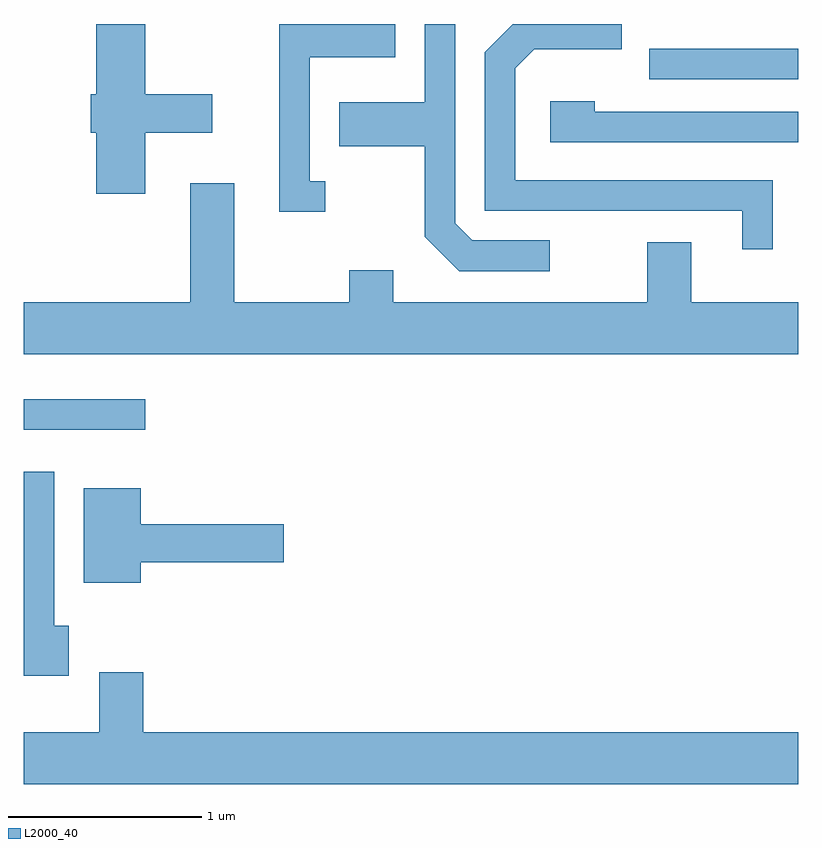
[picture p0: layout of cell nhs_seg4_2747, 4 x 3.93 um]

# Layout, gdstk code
import gdstk
lib = gdstk.Library(unit=1e-6, precision=1e-09)
def R(c, l, rs):  # rectangles x0, y0, x1, y1
    for r in rs: c.add(gdstk.rectangle(r[:2], r[2:], *l))
def P(c, l, *ps):  # polygons
    for p in ps: c.add(gdstk.Polygon(p, *l))
L2000_40 = (2000, 40)

nhs_seg4_2747 = lib.new_cell('nhs_seg4_2747')
R(nhs_seg4_2747, L2000_40, [(265.611,1309.886,266.238,1310.044), (268.843,1311.696,269.611,1311.854)])
P(nhs_seg4_2747, L2000_40, [(266.239,1311.421),(266.584,1311.421),(266.584,1311.619),(266.239,1311.619),(266.239,1311.982),(265.986,1311.982),(265.986,1311.619),(265.956,1311.619),(265.956,1311.421),(265.986,1311.421),(265.986,1311.106),(266.239,1311.106)],
  [(268.328,1310.864),(267.927,1310.864),(267.839,1310.952),(267.839,1311.982),(267.681,1311.982),(267.681,1311.579),(267.241,1311.579),(267.241,1311.351),(267.681,1311.351),(267.681,1310.884),(267.859,1310.706),(268.328,1310.706)],
  [(269.479,1311.174),(268.149,1311.174),(268.149,1311.754),(268.247,1311.851),(268.699,1311.851),(268.699,1311.982),(268.137,1311.982),(267.991,1311.837),(267.991,1311.016),(269.321,1311.016),(269.321,1310.818),(269.479,1310.818)],
  [(267.168,1311.169),(267.089,1311.169),(267.089,1311.811),(267.529,1311.811),(267.529,1311.982),(266.931,1311.982),(266.931,1311.011),(267.168,1311.011)],
  [(269.611,1311.529),(268.559,1311.529),(268.559,1311.584),(268.331,1311.584),(268.331,1311.371),(269.611,1311.371)],
  [(269.611,1310.544),(269.059,1310.544),(269.059,1310.854),(268.831,1310.854),(268.831,1310.544),(267.519,1310.544),(267.519,1310.709),(267.291,1310.709),(267.291,1310.544),(266.699,1310.544),(266.699,1311.159),(266.471,1311.159),(266.471,1310.544),(265.611,1310.544),(265.611,1310.276),(269.611,1310.276)],
  [(265.844,1308.874),(265.769,1308.874),(265.769,1309.669),(265.611,1309.669),(265.611,1308.616),(265.844,1308.616)],
  [(266.214,1309.201),(266.954,1309.201),(266.954,1309.399),(266.214,1309.399),(266.214,1309.584),(265.921,1309.584),(265.921,1309.096),(266.214,1309.096)],
  [(269.611,1308.324),(266.229,1308.324),(266.229,1308.634),(266.001,1308.634),(266.001,1308.324),(265.611,1308.324),(265.611,1308.056),(269.611,1308.056)])

lib.write_gds('nhs_seg4_2747.gds')
